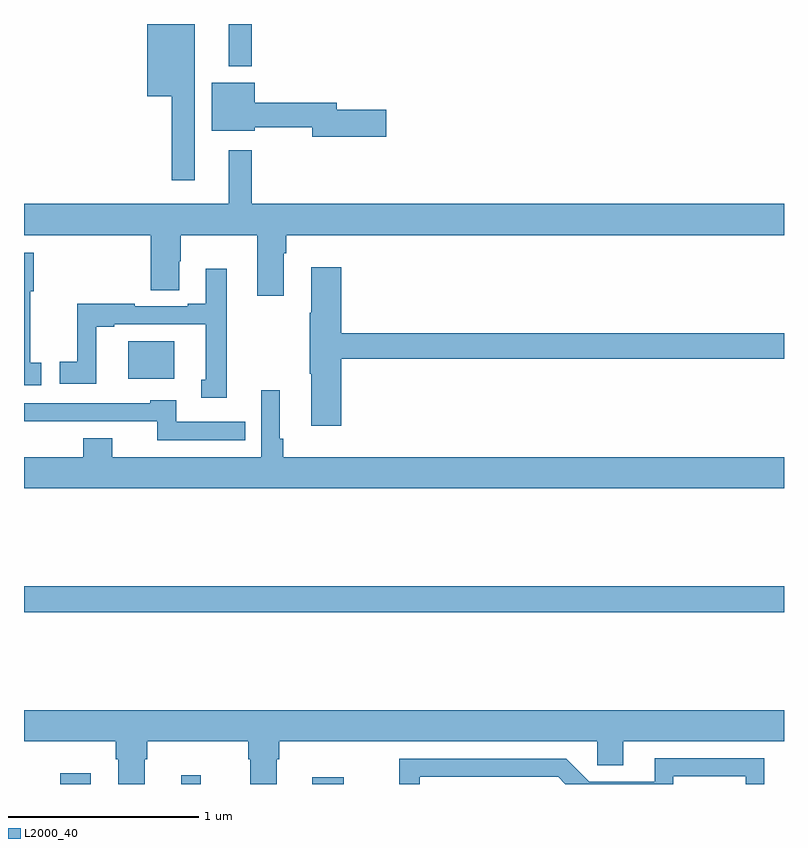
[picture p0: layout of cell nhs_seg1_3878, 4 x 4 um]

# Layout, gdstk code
import gdstk
lib = gdstk.Library(unit=1e-6, precision=1e-09)
def R(c, l, rs):  # rectangles x0, y0, x1, y1
    for r in rs: c.add(gdstk.rectangle(r[:2], r[2:], *l))
def P(c, l, *ps):  # polygons
    for p in ps: c.add(gdstk.Polygon(p, *l))
L2000_40 = (2000, 40)

nhs_seg1_3878 = lib.new_cell('nhs_seg1_3878')
R(nhs_seg1_3878, L2000_40, [(323.192,526.199,323.35,526.255), (323.828,526.199,323.93,526.246), (324.518,526.199,324.684,526.234), (323,527.104,327,527.24), (323.549,528.332,323.791,528.529), (324.077,529.976,324.199,530.199)])
P(nhs_seg1_3878, L2000_40, [(323.899,530.199),(323.648,530.199),(323.648,529.82),(323.778,529.82),(323.778,529.377),(323.899,529.377)],
  [(324.907,529.748),(324.646,529.748),(324.646,529.784),(324.214,529.784),(324.214,529.891),(323.987,529.891),(323.987,529.637),(324.214,529.637),(324.214,529.656),(324.518,529.656),(324.518,529.606),(324.907,529.606)],
  [(324.367,528.992),(324.38,528.992),(324.38,529.088),(327,529.088),(327,529.252),(324.199,529.252),(324.199,529.534),(324.077,529.534),(324.077,529.252),(323,529.252),(323,529.088),(323.666,529.088),(323.666,528.799),(323.818,528.799),(323.818,528.95),(323.826,528.95),(323.826,529.088),(324.227,529.088),(324.227,528.768),(324.367,528.768)],
  [(323.092,528.417),(323.034,528.417),(323.034,528.793),(323.051,528.793),(323.051,528.996),(323,528.996),(323,528.297),(323.092,528.297)],
  [(324.671,528.436),(327,528.436),(327,528.572),(324.671,528.572),(324.671,528.919),(324.512,528.919),(324.512,528.68),(324.505,528.68),(324.505,528.359),(324.512,528.359),(324.512,528.084),(324.671,528.084)],
  [(324.067,528.91),(323.957,528.91),(323.957,528.727),(323.861,528.727),(323.861,528.714),(323.582,528.714),(323.582,528.727),(323.281,528.727),(323.281,528.422),(323.187,528.422),(323.187,528.306),(323.38,528.306),(323.38,528.606),(323.476,528.606),(323.476,528.618),(323.957,528.618),(323.957,528.327),(323.933,528.327),(323.933,528.233),(324.067,528.233)],
  [(327,527.92),(324.365,527.92),(324.365,528.016),(324.346,528.016),(324.346,528.271),(324.249,528.271),(324.249,527.92),(323.464,527.92),(323.464,528.019),(323.312,528.019),(323.312,527.92),(323,527.92),(323,527.756),(327,527.756)],
  [(324.164,528.105),(323.8,528.105),(323.8,528.22),(323.664,528.22),(323.664,528.204),(323,528.204),(323,528.107),(323.228,528.107),(323.228,528.108),(323.701,528.108),(323.701,528.009),(324.164,528.009)],
  [(323.635,526.328),(323.648,526.328),(323.648,526.424),(324.179,526.424),(324.179,526.328),(324.191,526.328),(324.191,526.199),(324.331,526.199),(324.331,526.328),(324.344,526.328),(324.344,526.424),(326.016,526.424),(326.016,526.297),(326.155,526.297),(326.155,526.424),(327,526.424),(327,526.588),(323,526.588),(323,526.424),(323.483,526.424),(323.483,526.328),(323.495,526.328),(323.495,526.199),(323.635,526.199)],
  [(325.083,526.236),(325.812,526.236),(325.849,526.199),(326.418,526.199),(326.418,526.239),(326.799,526.239),(326.799,526.199),(326.895,526.199),(326.895,526.335),(326.321,526.335),(326.321,526.212),(325.974,526.212),(325.854,526.332),(324.975,526.332),(324.975,526.199),(325.083,526.199)])

lib.write_gds('nhs_seg1_3878.gds')
